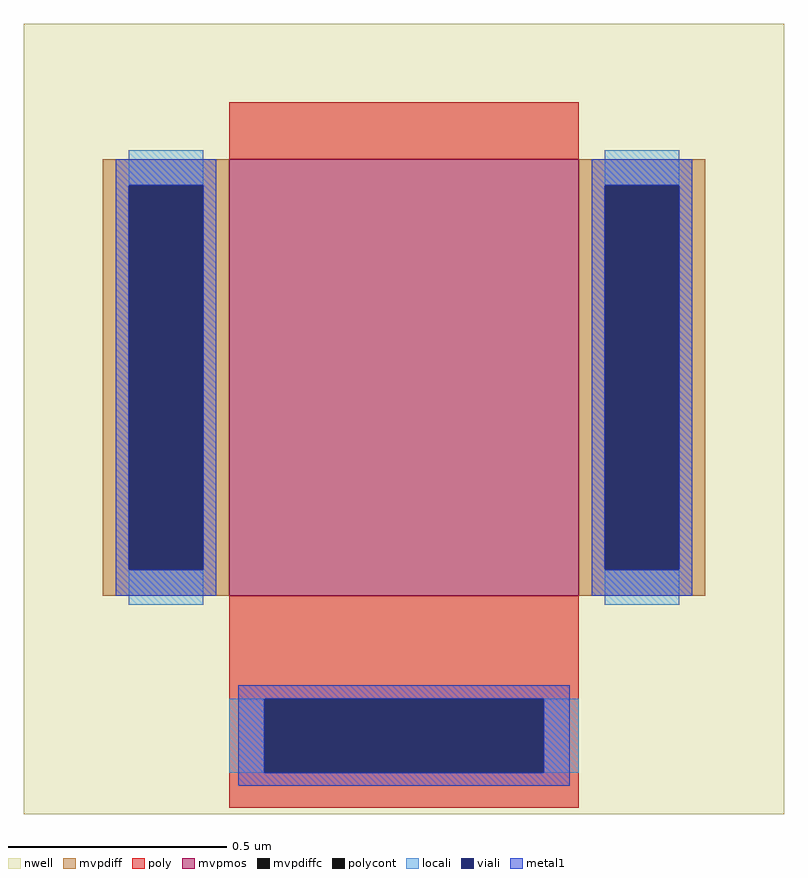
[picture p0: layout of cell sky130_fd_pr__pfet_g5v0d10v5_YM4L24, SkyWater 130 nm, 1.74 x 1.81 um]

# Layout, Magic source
magic
tech sky130A
magscale 1 2
<< nwell >>
rect -174 -164 174 198
<< mvpmos >>
rect -80 -64 80 136
<< mvpdiff >>
rect -138 124 -80 136
rect -138 -52 -126 124
rect -92 -52 -80 124
rect -138 -64 -80 -52
rect 80 124 138 136
rect 80 -52 92 124
rect 126 -52 138 124
rect 80 -64 138 -52
<< mvpdiffc >>
rect -126 -52 -92 124
rect 92 -52 126 124
<< poly >>
rect -80 136 80 162
rect -80 -111 80 -64
rect -80 -145 -64 -111
rect 64 -145 80 -111
rect -80 -161 80 -145
<< polycont >>
rect -64 -145 64 -111
<< locali >>
rect -126 124 -92 140
rect -126 -68 -92 -52
rect 92 124 126 140
rect 92 -68 126 -52
rect -80 -145 -64 -111
rect 64 -145 80 -111
<< viali >>
rect -126 -52 -92 124
rect 92 -52 126 124
rect -64 -145 64 -111
<< metal1 >>
rect -132 124 -86 136
rect -132 -52 -126 124
rect -92 -52 -86 124
rect -132 -64 -86 -52
rect 86 124 132 136
rect 86 -52 92 124
rect 126 -52 132 124
rect 86 -64 132 -52
rect -76 -111 76 -105
rect -76 -145 -64 -111
rect 64 -145 76 -111
rect -76 -151 76 -145
<< properties >>
string gencell sky130_fd_pr__pfet_g5v0d10v5
string library sky130
string parameters w 1 l 0.8 m 1 nf 1 diffcov 100 polycov 100 guard 0 glc 1 grc 1 gtc 1 gbc 1 tbcov 100 rlcov 100 topc 0 botc 1 poverlap 0 doverlap 1 lmin 0.50 wmin 0.42 compatible {sky130_fd_pr__pfet_01v8  sky130_fd_pr__pfet_01v8_lvt sky130_fd_pr__pfet_01v8_hvt  sky130_fd_pr__pfet_g5v0d10v5} full_metal 1 viasrc 100 viadrn 100 viagate 100 viagb 0 viagr 0 viagl 0 viagt 0
<< end >>
